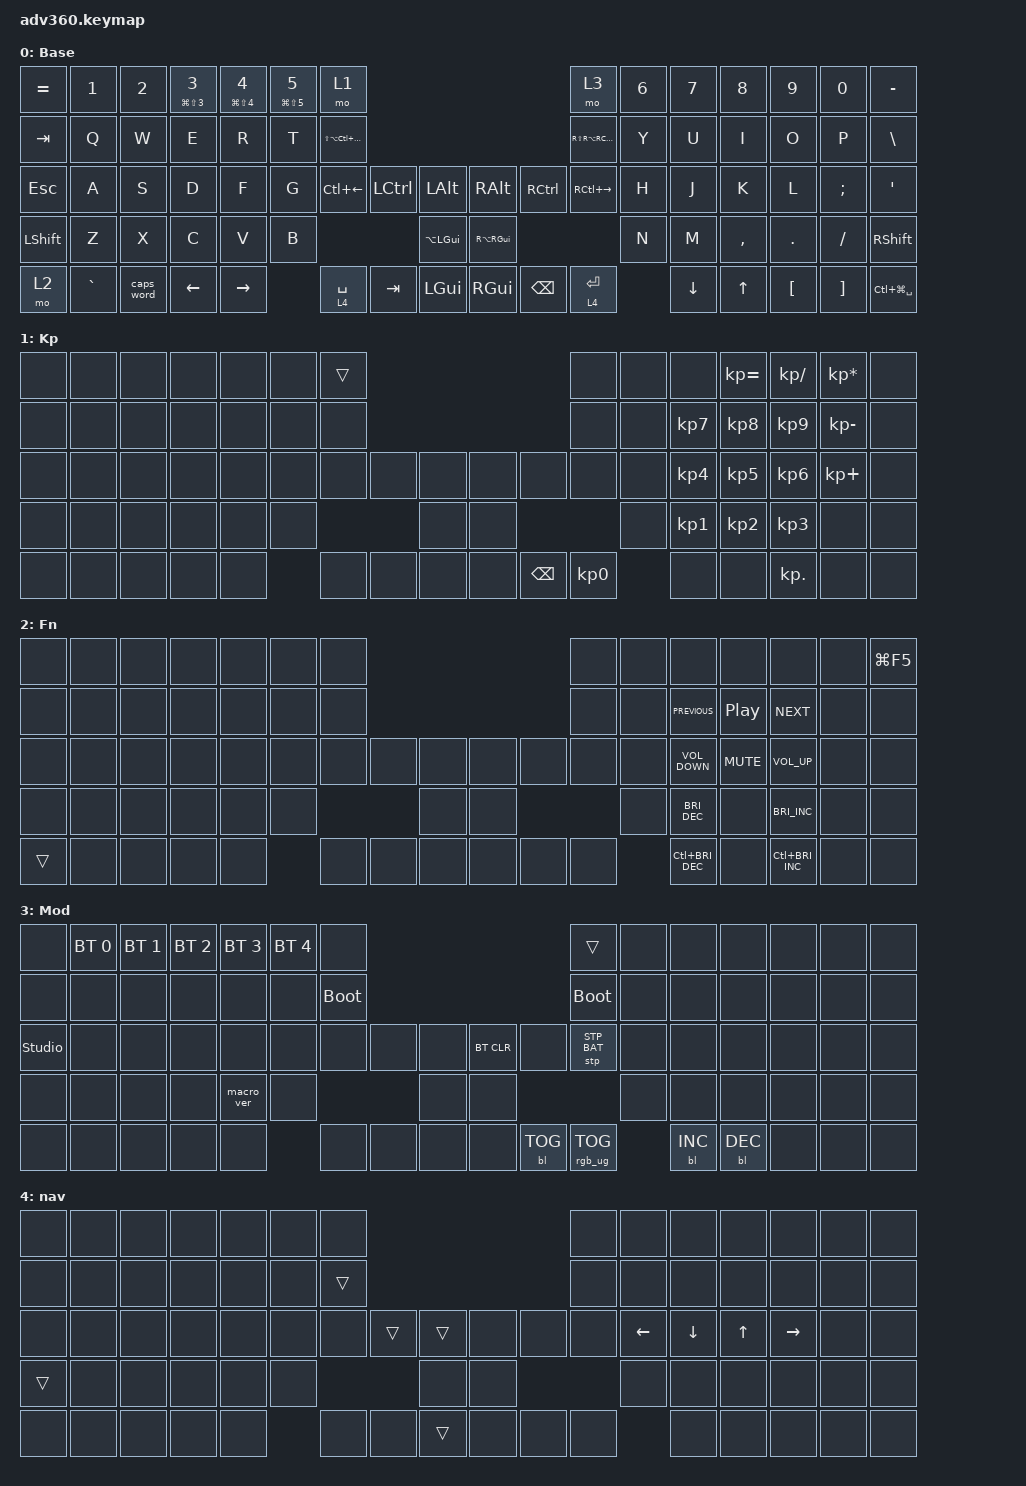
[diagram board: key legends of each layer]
#include <dt-bindings/zmk/stp.h>
#include <behaviors.dtsi>
#include <dt-bindings/zmk/backlight.h>
#include <dt-bindings/zmk/bt.h>
#include <dt-bindings/zmk/keys.h>
#include <dt-bindings/zmk/rgb.h>

/ {
    behaviors {
        #include "macros.dtsi"
      #include "version.dtsi"

        ht_1s: ht_1s {
            compatible = "zmk,behavior-hold-tap";
            label = "HT_1S";
            #binding-cells = <2>;
            flavor = "tap-preferred";
            tapping-term-ms = <1000>;
            bindings = <&kp>, <&kp>;
        };

        ht_500ms: ht_500ms {
            compatible = "zmk,behavior-hold-tap";
            label = "HT_500MS";
            #binding-cells = <2>;
            flavor = "tap-preferred";
            tapping-term-ms = <500>;
            bindings = <&kp>, <&kp>;
        };
    };

    keymap {
        compatible = "zmk,keymap";

        base {
            display-name = "Base";
            bindings = <
&kp EQUAL  &kp N1     &kp N2      &ht_500ms LG(LS(NUMBER_3)) NUMBER_3  &ht_500ms LG(LS(NUMBER_4)) NUMBER_4  &ht_500ms LG(LS(NUMBER_5)) NUMBER_5  &mo 1                                                                                            &mo 3                          &kp N6  &kp N7    &kp N8        &kp N9    &kp N0    &kp MINUS
&kp TAB    &kp Q      &kp W       &kp E                                &kp R                                &kp T                                &kp LS(LA(LC(LG(LEFT_GUI))))                                                                     &kp RS(RA(RC(RG(RIGHT_GUI))))  &kp Y   &kp U     &kp I         &kp O     &kp P     &kp BSLH
&kp ESC    &kp A      &kp S       &kp D                                &kp F                                &kp G                                &kp LC(LEFT)                  &kp LCTRL  &kp LALT              &kp RIGHT_ALT      &kp RCTRL      &kp RC(RIGHT)                  &kp H   &kp J     &kp K         &kp L     &kp SEMI  &kp SQT
&kp LSHFT  &kp Z      &kp X       &kp C                                &kp V                                &kp B                                                                         &kp LA(LEFT_GUI)      &kp RA(RIGHT_GUI)                                                &kp N   &kp M     &kp COMMA     &kp DOT   &kp FSLH  &kp RSHFT
&mo 2      &kp GRAVE  &caps_word  &kp LEFT                             &kp RIGHT                                                                 &lt 4 SPACE                   &kp TAB    &kp LEFT_GUI          &kp RIGHT_GUI      &kp BACKSPACE  &lt 4 ENTER                            &kp DOWN  &kp UP_ARROW  &kp LBKT  &kp RBKT  &kp LC(LG(SPACE))
            >;

            label = "base";
        };

        keypad {
            display-name = "Kp";
            bindings = <
&none  &none  &none  &none  &none  &none  &trans                                          &none      &none  &none      &kp KP_EQUAL  &kp KP_DIVIDE  &kp KP_MULTIPLY  &none
&none  &none  &none  &none  &none  &none  &none                                           &none      &none  &kp KP_N7  &kp KP_N8     &kp KP_N9      &kp KP_MINUS     &none
&none  &none  &none  &none  &none  &none  &none   &none  &none      &none  &none          &none      &none  &kp KP_N4  &kp KP_N5     &kp KP_N6      &kp KP_PLUS      &none
&none  &none  &none  &none  &none  &none                 &none      &none                            &none  &kp KP_N1  &kp KP_N2     &kp KP_N3      &none            &none
&none  &none  &none  &none  &none         &none   &none  &none      &none  &kp BACKSPACE  &kp KP_N0         &none      &none         &kp KP_DOT     &none            &none
            >;

            label = "keypad";
        };

        fn {
            display-name = "Fn";
            bindings = <
&none   &none  &none  &none  &none  &none  &none                                  &none  &none  &none                     &none             &none                     &none  &kp LG(F5)
&none   &none  &none  &none  &none  &none  &none                                  &none  &none  &kp C_PREVIOUS            &kp C_PLAY_PAUSE  &kp C_NEXT                &none  &none
&none   &none  &none  &none  &none  &none  &none  &none  &none      &none  &none  &none  &none  &kp C_VOLUME_DOWN         &kp C_MUTE        &kp C_VOLUME_UP           &none  &none
&none   &none  &none  &none  &none  &none                &none      &none                &none  &kp C_BRIGHTNESS_DEC      &none             &kp C_BRIGHTNESS_INC      &none  &none
&trans  &none  &none  &none  &none         &none  &none  &none      &none  &none  &none         &kp LC(C_BRIGHTNESS_DEC)  &none             &kp LC(C_BRIGHTNESS_INC)  &none  &none
            >;
        };

        mod {
            display-name = "Mod";
            bindings = <
&none           &bt BT_SEL 0  &bt BT_SEL 1  &bt BT_SEL 2  &bt BT_SEL 3  &bt BT_SEL 4  &none                                                  &trans           &none  &none       &none       &none  &none  &none
&none           &none         &none         &none         &none         &none         &bootloader                                            &bootloader      &none  &none       &none       &none  &none  &none
&studio_unlock  &none         &none         &none         &none         &none         &none        &none  &none      &bt BT_CLR  &none       &stp STP_BAT     &none  &none       &none       &none  &none  &none
&none           &none         &none         &none         &macro_ver    &none                             &none      &none                                    &none  &none       &none       &none  &none  &none
&none           &none         &none         &none         &none                       &none        &none  &none      &none       &bl BL_TOG  &rgb_ug RGB_TOG         &bl BL_INC  &bl BL_DEC  &none  &none  &none
            >;
        };

        nav {
            bindings = <
&none   &none  &none  &none  &none  &none  &none                                     &none  &none     &none     &none   &none      &none  &none
&none   &none  &none  &none  &none  &none  &trans                                    &none  &none     &none     &none   &none      &none  &none
&none   &none  &none  &none  &none  &none  &none   &trans  &trans      &none  &none  &none  &kp LEFT  &kp DOWN  &kp UP  &kp RIGHT  &none  &none
&trans  &none  &none  &none  &none  &none                  &none       &none                &none     &none     &none   &none      &none  &none
&none   &none  &none  &none  &none         &none   &none   &trans      &none  &none  &none            &none     &none   &none      &none  &none
            >;

            label = "nav";
        };
    };
};
